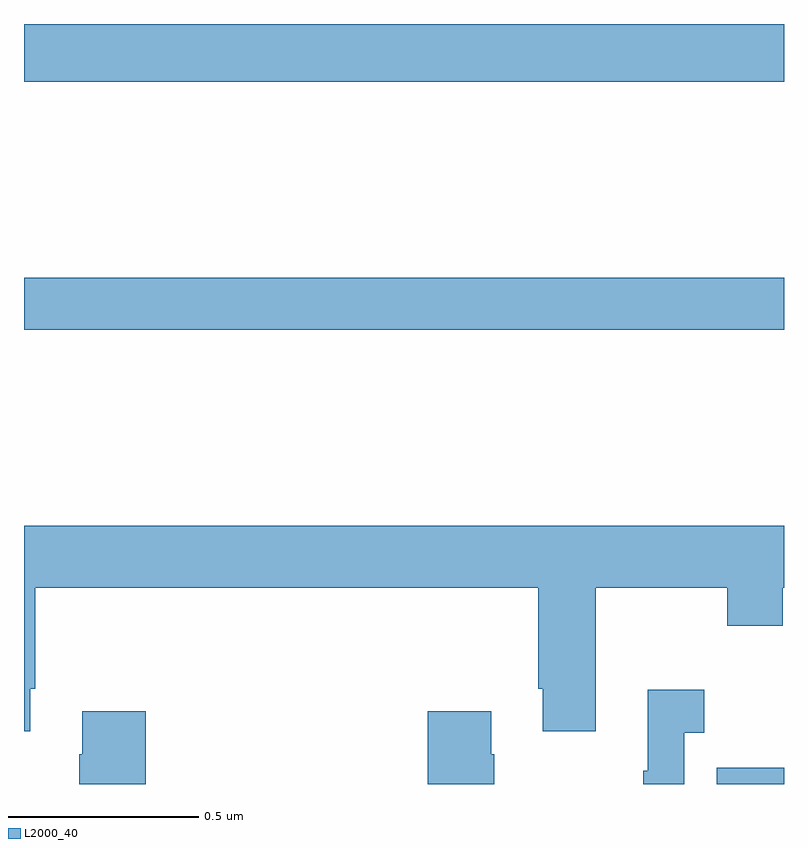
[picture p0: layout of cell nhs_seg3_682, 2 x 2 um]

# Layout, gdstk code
import gdstk
lib = gdstk.Library(unit=1e-6, precision=1e-09)
def R(c, l, rs):  # rectangles x0, y0, x1, y1
    for r in rs: c.add(gdstk.rectangle(r[:2], r[2:], *l))
def P(c, l, *ps):  # polygons
    for p in ps: c.add(gdstk.Polygon(p, *l))
L2000_40 = (2000, 40)

nhs_seg3_682 = lib.new_cell('nhs_seg3_682')
R(nhs_seg3_682, L2000_40, [(120.823,700.4,121,700.443), (119,701.596,121,701.732), (119,702.248,121,702.4)])
P(nhs_seg3_682, L2000_40, [(119.017,700.651),(119.03,700.651),(119.03,700.916),(120.353,700.916),(120.353,700.651),(120.365,700.651),(120.365,700.539),(120.505,700.539),(120.505,700.916),(120.85,700.916),(120.85,700.817),(120.997,700.817),(120.997,700.916),(121,700.916),(121,701.08),(119,701.08),(119,700.539),(119.017,700.539)],
  [(120.738,700.535),(120.79,700.535),(120.79,700.648),(120.641,700.648),(120.641,700.435),(120.63,700.435),(120.63,700.4),(120.738,700.4)],
  [(119.321,700.591),(119.153,700.591),(119.153,700.478),(119.146,700.478),(119.146,700.4),(119.321,700.4)],
  [(120.237,700.478),(120.229,700.478),(120.229,700.591),(120.062,700.591),(120.062,700.4),(120.237,700.4)])

lib.write_gds('nhs_seg3_682.gds')
